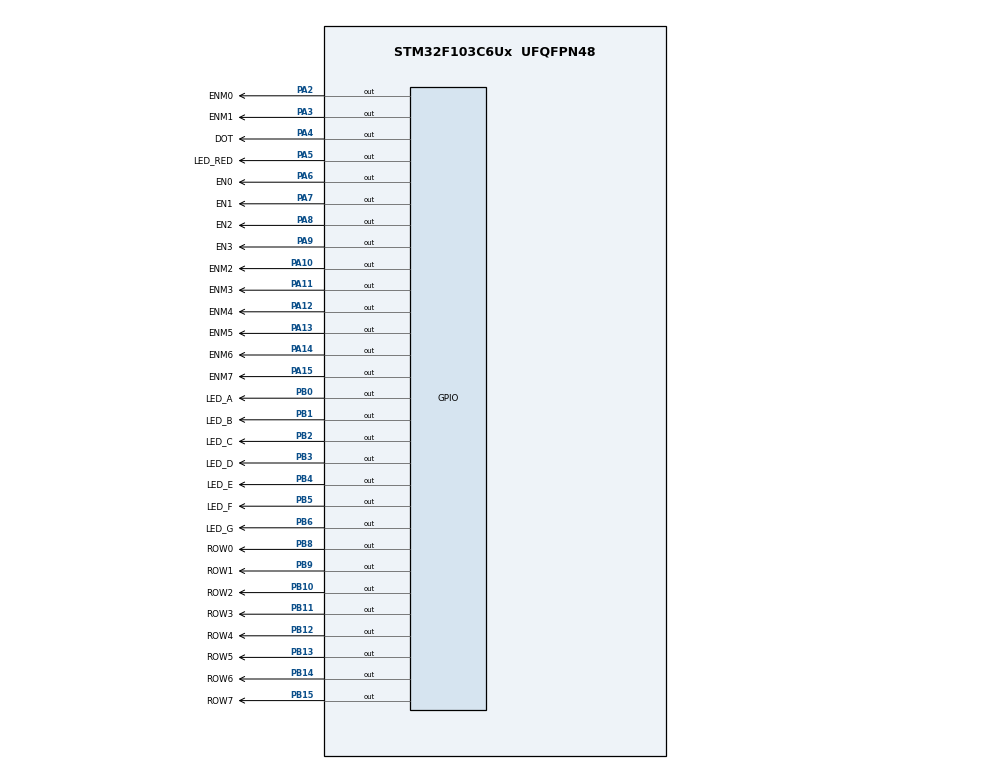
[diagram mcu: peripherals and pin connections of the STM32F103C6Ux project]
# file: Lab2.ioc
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Mcu.Family=STM32F1
Mcu.Name=STM32F103C6Ux
Mcu.Package=UFQFPN48
NVIC.PriorityGroup=NVIC_PRIORITYGROUP_4
NVIC.TIM2_IRQn=true\:0\:0\:false\:false\:true\:true\:true\:true
PA10.GPIO_Label=ENM2
PA10.Signal=GPIO_Output
PA11.GPIO_Label=ENM3
PA11.Signal=GPIO_Output
PA12.GPIO_Label=ENM4
PA12.Signal=GPIO_Output
PA13.GPIO_Label=ENM5
PA13.Signal=GPIO_Output
PA14.GPIO_Label=ENM6
PA14.Signal=GPIO_Output
PA15.GPIO_Label=ENM7
PA15.Signal=GPIO_Output
PA2.GPIO_Label=ENM0
PA2.Signal=GPIO_Output
PA3.GPIO_Label=ENM1
PA3.Signal=GPIO_Output
PA4.GPIO_Label=DOT
PA4.Signal=GPIO_Output
PA5.GPIO_Label=LED_RED
PA5.Signal=GPIO_Output
PA6.GPIO_Label=EN0
PA6.Signal=GPIO_Output
PA7.GPIO_Label=EN1
PA7.Signal=GPIO_Output
PA8.GPIO_Label=EN2
PA8.Signal=GPIO_Output
PA9.GPIO_Label=EN3
PA9.Signal=GPIO_Output
PB0.GPIO_Label=LED_A
PB0.Signal=GPIO_Output
PB1.GPIO_Label=LED_B
PB1.Signal=GPIO_Output
PB10.GPIO_Label=ROW2
PB10.Signal=GPIO_Output
PB11.GPIO_Label=ROW3
PB11.Signal=GPIO_Output
PB12.GPIO_Label=ROW4
PB12.Signal=GPIO_Output
PB13.GPIO_Label=ROW5
PB13.Signal=GPIO_Output
PB14.GPIO_Label=ROW6
PB14.Signal=GPIO_Output
PB15.GPIO_Label=ROW7
PB15.Signal=GPIO_Output
PB2.GPIO_Label=LED_C
PB2.Signal=GPIO_Output
PB3.GPIO_Label=LED_D
PB3.Signal=GPIO_Output
PB4.GPIO_Label=LED_E
PB4.Signal=GPIO_Output
PB5.GPIO_Label=LED_F
PB5.Signal=GPIO_Output
PB6.GPIO_Label=LED_G
PB6.Signal=GPIO_Output
PB8.GPIO_Label=ROW0
PB8.Signal=GPIO_Output
PB9.GPIO_Label=ROW1
PB9.Signal=GPIO_Output
ProjectManager.HeapSize=0x200
ProjectManager.StackSize=0x400
ProjectManager.TargetToolchain=STM32CubeIDE
RCC.APB1Freq_Value=8000000
RCC.APB2Freq_Value=8000000
TIM2.Period=9
TIM2.Prescaler=7999
VP_TIM2_VS_ClockSourceINT.Mode=Internal
board=custom

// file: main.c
/* USER CODE BEGIN Header */
/**
  ******************************************************************************
  * @file           : main.c
  * @brief          : Main program body
  ******************************************************************************
  * @attention
  *
  * Copyright (c) 2022 STMicroelectronics.
  * All rights reserved.
  *
  * This software is licensed under terms that can be found in the LICENSE file
  * in the root directory of this software component.
  * If no LICENSE file comes with this software, it is provided AS-IS.
  *
  ******************************************************************************
  */
/* USER CODE END Header */
#include "main.h"
#include "Software_Timer.h"

TIM_HandleTypeDef htim2;

/* USER CODE BEGIN PV */
int hour, minute, second;
/* USER CODE END PV */

void SystemClock_Config(void);
static void MX_GPIO_Init(void);
static void MX_TIM2_Init(void);
/* USER CODE BEGIN PFP */
const int MAX_LED_MATRIX = 8;
int index_led_matrix = 0;
int matrix_buffer[8] = {0x18, 0x3C, 0x66, 0x66, 0x7E, 0x7E, 0x66, 0x66};
void updateLEDMatrix(int index);
/* USER CODE END PFP */

int main(void)
{

  /* MCU Configuration--------------------------------------------------------*/

  /* Reset of all peripherals, Initializes the Flash interface and the Systick. */
  HAL_Init();

  /* Configure the system clock */
  SystemClock_Config();

  /* Initialize all configured peripherals */
  MX_GPIO_Init();
  MX_TIM2_Init();
  /* USER CODE BEGIN 2 */
  HAL_TIM_Base_Start_IT(&htim2);
  /* USER CODE END 2 */

  /* Infinite loop */
  /* USER CODE BEGIN WHILE */
  int indexLed			= 0;

  SetTimer0(1000);
  SetTimer1(250);
  while (1)
  {
	  UpdateClockBuffer();

	 	  if(timer0_flag == 1){
	 		  SetTimer0(1000);

	 		  minute++;
	 		  if(second >= 60){
	 			  second = 0;
	 			  minute++;
	 		  }
	 		  if(minute >= 60){
	 			  minute = 0;
	 			  hour++;
	 		  }
	 		  if(hour > 24){
	 			  hour = 0;
	 		  }

	 		  HAL_GPIO_TogglePin(DOT_GPIO_Port, DOT_Pin);
	 	  }

	 	  if(timer1_flag == 1){
	 		  SetTimer1(100);

	 		  if(index_led_matrix > 8) index_led_matrix = 0;
	 		  updateLEDMatrix(index_led_matrix++);
	 	  }
    /* USER CODE END WHILE */

  }
}

void SystemClock_Config(void)
{
  RCC_OscInitTypeDef RCC_OscInitStruct = {0};
  RCC_ClkInitTypeDef RCC_ClkInitStruct = {0};

  /** Initializes the RCC Oscillators according to the specified parameters
  * in the RCC_OscInitTypeDef structure.
  */
  RCC_OscInitStruct.OscillatorType = RCC_OSCILLATORTYPE_HSI;
  RCC_OscInitStruct.HSIState = RCC_HSI_ON;
  RCC_OscInitStruct.HSICalibrationValue = RCC_HSICALIBRATION_DEFAULT;
  RCC_OscInitStruct.PLL.PLLState = RCC_PLL_NONE;
  if (HAL_RCC_OscConfig(&RCC_OscInitStruct) != HAL_OK)
  {
    Error_Handler();
  }

  /** Initializes the CPU, AHB and APB buses clocks
  */
  RCC_ClkInitStruct.ClockType = RCC_CLOCKTYPE_HCLK|RCC_CLOCKTYPE_SYSCLK
                              |RCC_CLOCKTYPE_PCLK1|RCC_CLOCKTYPE_PCLK2;
  RCC_ClkInitStruct.SYSCLKSource = RCC_SYSCLKSOURCE_HSI;
  RCC_ClkInitStruct.AHBCLKDivider = RCC_SYSCLK_DIV1;
  RCC_ClkInitStruct.APB1CLKDivider = RCC_HCLK_DIV1;
  RCC_ClkInitStruct.APB2CLKDivider = RCC_HCLK_DIV1;

  if (HAL_RCC_ClockConfig(&RCC_ClkInitStruct, FLASH_LATENCY_0) != HAL_OK)
  {
    Error_Handler();
  }
}

static void MX_TIM2_Init(void)
{

  TIM_ClockConfigTypeDef sClockSourceConfig = {0};
  TIM_MasterConfigTypeDef sMasterConfig = {0};

  htim2.Instance = TIM2;
  htim2.Init.Prescaler = 7999;
  htim2.Init.CounterMode = TIM_COUNTERMODE_UP;
  htim2.Init.Period = 9;
  htim2.Init.ClockDivision = TIM_CLOCKDIVISION_DIV1;
  htim2.Init.AutoReloadPreload = TIM_AUTORELOAD_PRELOAD_DISABLE;
  if (HAL_TIM_Base_Init(&htim2) != HAL_OK)
  {
    Error_Handler();
  }
  sClockSourceConfig.ClockSource = TIM_CLOCKSOURCE_INTERNAL;
  if (HAL_TIM_ConfigClockSource(&htim2, &sClockSourceConfig) != HAL_OK)
  {
    Error_Handler();
  }
  sMasterConfig.MasterOutputTrigger = TIM_TRGO_RESET;
  sMasterConfig.MasterSlaveMode = TIM_MASTERSLAVEMODE_DISABLE;
  if (HAL_TIMEx_MasterConfigSynchronization(&htim2, &sMasterConfig) != HAL_OK)
  {
    Error_Handler();
  }

}

static void MX_GPIO_Init(void)
{
  GPIO_InitTypeDef GPIO_InitStruct = {0};

  /* GPIO Ports Clock Enable */
  __HAL_RCC_GPIOA_CLK_ENABLE();
  __HAL_RCC_GPIOB_CLK_ENABLE();

  /*Configure GPIO pin Output Level */
  HAL_GPIO_WritePin(GPIOA, ENM0_Pin|ENM1_Pin|DOT_Pin|LED_RED_Pin
                          |EN0_Pin|EN1_Pin|EN2_Pin|EN3_Pin
                          |ENM2_Pin|ENM3_Pin|ENM4_Pin|ENM5_Pin
                          |ENM6_Pin|ENM7_Pin, GPIO_PIN_RESET);

  /*Configure GPIO pin Output Level */
  HAL_GPIO_WritePin(GPIOB, LED_A_Pin|LED_B_Pin|LED_C_Pin|ROW2_Pin
                          |ROW3_Pin|ROW4_Pin|ROW5_Pin|ROW6_Pin
                          |ROW7_Pin|LED_D_Pin|LED_E_Pin|LED_F_Pin
                          |LED_G_Pin|ROW0_Pin|ROW1_Pin, GPIO_PIN_RESET);

  /*Configure GPIO pins : ENM0_Pin ENM1_Pin DOT_Pin LED_RED_Pin
                           EN0_Pin EN1_Pin EN2_Pin EN3_Pin
                           ENM2_Pin ENM3_Pin ENM4_Pin ENM5_Pin
                           ENM6_Pin ENM7_Pin */
  GPIO_InitStruct.Pin = ENM0_Pin|ENM1_Pin|DOT_Pin|LED_RED_Pin
                          |EN0_Pin|EN1_Pin|EN2_Pin|EN3_Pin
                          |ENM2_Pin|ENM3_Pin|ENM4_Pin|ENM5_Pin
                          |ENM6_Pin|ENM7_Pin;
  GPIO_InitStruct.Mode = GPIO_MODE_OUTPUT_PP;
  GPIO_InitStruct.Pull = GPIO_NOPULL;
  GPIO_InitStruct.Speed = GPIO_SPEED_FREQ_LOW;
  HAL_GPIO_Init(GPIOA, &GPIO_InitStruct);

  /*Configure GPIO pins : LED_A_Pin LED_B_Pin LED_C_Pin ROW2_Pin
                           ROW3_Pin ROW4_Pin ROW5_Pin ROW6_Pin
                           ROW7_Pin LED_D_Pin LED_E_Pin LED_F_Pin
                           LED_G_Pin ROW0_Pin ROW1_Pin */
  GPIO_InitStruct.Pin = LED_A_Pin|LED_B_Pin|LED_C_Pin|ROW2_Pin
                          |ROW3_Pin|ROW4_Pin|ROW5_Pin|ROW6_Pin
                          |ROW7_Pin|LED_D_Pin|LED_E_Pin|LED_F_Pin
                          |LED_G_Pin|ROW0_Pin|ROW1_Pin;
  GPIO_InitStruct.Mode = GPIO_MODE_OUTPUT_PP;
  GPIO_InitStruct.Pull = GPIO_NOPULL;
  GPIO_InitStruct.Speed = GPIO_SPEED_FREQ_LOW;
  HAL_GPIO_Init(GPIOB, &GPIO_InitStruct);

}

/* USER CODE BEGIN 4 */
void display7SEG(int num) {
	switch (num){
		case 0:
			HAL_GPIO_WritePin(LED_A_GPIO_Port, LED_A_Pin, RESET);
			HAL_GPIO_WritePin(LED_B_GPIO_Port, LED_B_Pin, RESET);
			HAL_GPIO_WritePin(LED_C_GPIO_Port, LED_C_Pin, RESET);
			HAL_GPIO_WritePin(LED_D_GPIO_Port, LED_D_Pin, RESET);
			HAL_GPIO_WritePin(LED_E_GPIO_Port, LED_E_Pin, RESET);
			HAL_GPIO_WritePin(LED_F_GPIO_Port, LED_F_Pin, RESET);
			HAL_GPIO_WritePin(LED_G_GPIO_Port, LED_G_Pin, SET);
			break;

		case 1:
			HAL_GPIO_WritePin(LED_A_GPIO_Port, LED_A_Pin, SET);
			HAL_GPIO_WritePin(LED_B_GPIO_Port, LED_B_Pin, RESET);
			HAL_GPIO_WritePin(LED_C_GPIO_Port, LED_C_Pin, RESET);
			HAL_GPIO_WritePin(LED_D_GPIO_Port, LED_D_Pin, SET);
			HAL_GPIO_WritePin(LED_E_GPIO_Port, LED_E_Pin, SET);
			HAL_GPIO_WritePin(LED_F_GPIO_Port, LED_F_Pin, SET);
			HAL_GPIO_WritePin(LED_G_GPIO_Port, LED_G_Pin, SET);
			break;

		case 2:
			HAL_GPIO_WritePin(LED_A_GPIO_Port, LED_A_Pin, RESET);
			HAL_GPIO_WritePin(LED_B_GPIO_Port, LED_B_Pin, RESET);
			HAL_GPIO_WritePin(LED_C_GPIO_Port, LED_C_Pin, SET);
			HAL_GPIO_WritePin(LED_D_GPIO_Port, LED_D_Pin, RESET);
			HAL_GPIO_WritePin(LED_E_GPIO_Port, LED_E_Pin, RESET);
			HAL_GPIO_WritePin(LED_F_GPIO_Port, LED_F_Pin, SET);
			HAL_GPIO_WritePin(LED_G_GPIO_Port, LED_G_Pin, RESET);
			break;

		case 3:
			HAL_GPIO_WritePin(LED_A_GPIO_Port, LED_A_Pin, RESET);
			HAL_GPIO_WritePin(LED_B_GPIO_Port, LED_B_Pin, RESET);
			HAL_GPIO_WritePin(LED_C_GPIO_Port, LED_C_Pin, RESET);
			HAL_GPIO_WritePin(LED_D_GPIO_Port, LED_D_Pin, RESET);
			HAL_GPIO_WritePin(LED_E_GPIO_Port, LED_E_Pin, SET);
			HAL_GPIO_WritePin(LED_F_GPIO_Port, LED_F_Pin, SET);
			HAL_GPIO_WritePin(LED_G_GPIO_Port, LED_G_Pin, RESET);
			break;

		case 4:
			HAL_GPIO_WritePin(LED_A_GPIO_Port, LED_A_Pin, SET);
			HAL_GPIO_WritePin(LED_B_GPIO_Port, LED_B_Pin, RESET);
			HAL_GPIO_WritePin(LED_C_GPIO_Port, LED_C_Pin, RESET);
			HAL_GPIO_WritePin(LED_D_GPIO_Port, LED_D_Pin, SET);
			HAL_GPIO_WritePin(LED_E_GPIO_Port, LED_E_Pin, SET);
			HAL_GPIO_WritePin(LED_F_GPIO_Port, LED_F_Pin, RESET);
			HAL_GPIO_WritePin(LED_G_GPIO_Port, LED_G_Pin, RESET);
			break;

		case 5:
			HAL_GPIO_WritePin(LED_A_GPIO_Port, LED_A_Pin, RESET);
			HAL_GPIO_WritePin(LED_B_GPIO_Port, LED_B_Pin, SET);
			HAL_GPIO_WritePin(LED_C_GPIO_Port, LED_C_Pin, RESET);
			HAL_GPIO_WritePin(LED_D_GPIO_Port, LED_D_Pin, RESET);
			HAL_GPIO_WritePin(LED_E_GPIO_Port, LED_E_Pin, SET);
			HAL_GPIO_WritePin(LED_F_GPIO_Port, LED_F_Pin, RESET);
			HAL_GPIO_WritePin(LED_G_GPIO_Port, LED_G_Pin, RESET);
			break;

		case 6:
			HAL_GPIO_WritePin(LED_A_GPIO_Port, LED_A_Pin, RESET);
			HAL_GPIO_WritePin(LED_B_GPIO_Port, LED_B_Pin, SET);
			HAL_GPIO_WritePin(LED_C_GPIO_Port, LED_C_Pin, RESET);
			HAL_GPIO_WritePin(LED_D_GPIO_Port, LED_D_Pin, RESET);
			HAL_GPIO_WritePin(LED_E_GPIO_Port, LED_E_Pin, RESET);
			HAL_GPIO_WritePin(LED_F_GPIO_Port, LED_F_Pin, RESET);
			HAL_GPIO_WritePin(LED_G_GPIO_Port, LED_G_Pin, RESET);
			break;

		case 7:
			HAL_GPIO_WritePin(LED_A_GPIO_Port, LED_A_Pin, RESET);
			HAL_GPIO_WritePin(LED_B_GPIO_Port, LED_B_Pin, RESET);
			HAL_GPIO_WritePin(LED_C_GPIO_Port, LED_C_Pin, RESET);
			HAL_GPIO_WritePin(LED_D_GPIO_Port, LED_D_Pin, SET);
			HAL_GPIO_WritePin(LED_E_GPIO_Port, LED_E_Pin, SET);
			HAL_GPIO_WritePin(LED_F_GPIO_Port, LED_F_Pin, SET);
			HAL_GPIO_WritePin(LED_G_GPIO_Port, LED_G_Pin, SET);
			break;

		case 8:
			HAL_GPIO_WritePin(LED_A_GPIO_Port, LED_A_Pin, RESET);
			HAL_GPIO_WritePin(LED_B_GPIO_Port, LED_B_Pin, RESET);
			HAL_GPIO_WritePin(LED_C_GPIO_Port, LED_C_Pin, RESET);
			HAL_GPIO_WritePin(LED_D_GPIO_Port, LED_D_Pin, RESET);
			HAL_GPIO_WritePin(LED_E_GPIO_Port, LED_E_Pin, RESET);
			HAL_GPIO_WritePin(LED_F_GPIO_Port, LED_F_Pin, RESET);
			HAL_GPIO_WritePin(LED_G_GPIO_Port, LED_G_Pin, RESET);
			break;

		case 9:
			HAL_GPIO_WritePin(LED_A_GPIO_Port, LED_A_Pin, RESET);
			HAL_GPIO_WritePin(LED_B_GPIO_Port, LED_B_Pin, RESET);
			HAL_GPIO_WritePin(LED_C_GPIO_Port, LED_C_Pin, RESET);
			HAL_GPIO_WritePin(LED_D_GPIO_Port, LED_D_Pin, RESET);
			HAL_GPIO_WritePin(LED_E_GPIO_Port, LED_E_Pin, SET);
			HAL_GPIO_WritePin(LED_F_GPIO_Port, LED_F_Pin, RESET);
			HAL_GPIO_WritePin(LED_G_GPIO_Port, LED_G_Pin, RESET);
			break;
	}
}
int ledBuffer[4]		= {0, 0, 0, 0};
void update7SEG(int index){
	switch (index) {
		case 0:
			display7SEG(ledBuffer[0]);
			break;
		case 1:
			display7SEG(ledBuffer[1]);
			break;
		case 2:
			display7SEG(ledBuffer[2]);
			break;
		case 3:
			display7SEG(ledBuffer[3]);
			break;
		default:
			break;
	}
}
void UpdateClockBuffer(){
	ledBuffer[0] = hour / 10;
	ledBuffer[1] = hour % 10;
	ledBuffer[2] = minute / 10;
	ledBuffer[3] = minute % 10;
}
void updateLEDMatrix(int index){
    switch (index){
        case 0:
        	HAL_GPIO_WritePin(GPIOA, ENM0_Pin, RESET);
        	HAL_GPIO_WritePin(GPIOA, ENM1_Pin | ENM2_Pin| ENM3_Pin| ENM4_Pin |
        								ENM5_Pin | ENM6_Pin| ENM7_Pin, SET);
			break;
        case 1:
        	HAL_GPIO_WritePin(GPIOA, ENM1_Pin, RESET);
        	HAL_GPIO_WritePin(GPIOA, ENM0_Pin | ENM2_Pin| ENM3_Pin| ENM4_Pin |
        								ENM5_Pin | ENM6_Pin| ENM7_Pin, SET);
            break;
        case 2:
        	HAL_GPIO_WritePin(GPIOA, ENM2_Pin, RESET);
        	HAL_GPIO_WritePin(GPIOA, ENM0_Pin | ENM1_Pin| ENM3_Pin| ENM4_Pin |
        								ENM5_Pin | ENM6_Pin| ENM7_Pin, SET);
            break;
        case 3:
        	HAL_GPIO_WritePin(GPIOA, ENM3_Pin, RESET);
        	HAL_GPIO_WritePin(GPIOA, ENM0_Pin | ENM1_Pin| ENM2_Pin| ENM4_Pin |
        								ENM5_Pin | ENM6_Pin| ENM7_Pin, SET);
            break;
        case 4:
        	HAL_GPIO_WritePin(GPIOA, ENM4_Pin, RESET);
        	HAL_GPIO_WritePin(GPIOA, ENM0_Pin | ENM1_Pin| ENM2_Pin| ENM3_Pin |
        								ENM5_Pin | ENM6_Pin| ENM7_Pin, SET);
            break;
        case 5:
        	HAL_GPIO_WritePin(GPIOA, ENM5_Pin, RESET);
        	HAL_GPIO_WritePin(GPIOA, ENM0_Pin | ENM1_Pin| ENM2_Pin| ENM3_Pin |
        								ENM4_Pin | ENM6_Pin| ENM7_Pin, SET);
            break;
        case 6:
        	HAL_GPIO_WritePin(GPIOA, ENM6_Pin, RESET);
        	HAL_GPIO_WritePin(GPIOA, ENM0_Pin | ENM1_Pin| ENM2_Pin| ENM3_Pin |
        								ENM4_Pin | ENM5_Pin| ENM7_Pin, SET);
            break;
        case 7:
        	HAL_GPIO_WritePin(GPIOA, ENM7_Pin, RESET);
        	HAL_GPIO_WritePin(GPIOA, ENM0_Pin | ENM1_Pin| ENM2_Pin| ENM3_Pin |
        								ENM4_Pin | ENM5_Pin| ENM6_Pin, SET);
            break;
        default:
            break;
    }
}
void HAL_TIM_PeriodElapsedCallback ( TIM_HandleTypeDef * htim )
{
	if(htim->Instance == TIM2){
		RunTimer0();
		RunTimer1();
	}
}
/* USER CODE END 4 */

void Error_Handler(void)
{
  __disable_irq();
  while (1)
  {
  }
}
